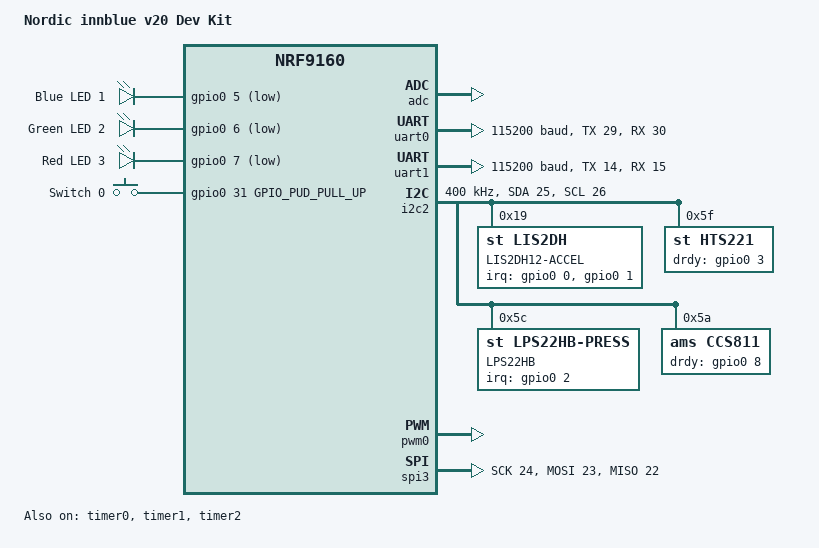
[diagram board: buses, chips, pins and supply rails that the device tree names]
/*
 * Copyright (c) 2018 innblue
 *
 * SPDX-License-Identifier: Apache-2.0
 *
 * i2c: hts221   0x5f int 3
 *      lps22hb  0x5c int 2
 *      ccs811   0x5a int 8
 *      lis2dh   0x19 int 0,1
 *
 */

/ {
	model = "Nordic innblue v20 Dev Kit";
	compatible = "innblue,innblue20-dk", "nordic,nrf9160-sica",
		     "nordic,nrf9160";

	chosen {
		zephyr,console = &uart0;
		zephyr,shell-uart = &uart0;
		zephyr,uart-mcumgr = &uart0;
	};

	
	leds {
		compatible = "gpio-leds";
		led0: led_0 {
			gpios = <&gpio0 5 GPIO_INT_ACTIVE_LOW>;
			label = "Blue LED 1";
		};
		led1: led_1 {
			gpios = <&gpio0 6 GPIO_INT_ACTIVE_LOW>;
			label = "Green LED 2";
		};
		led2: led_2 {
			gpios = <&gpio0 7 GPIO_INT_ACTIVE_LOW>;
			label = "Red LED 3";
		};
		/*
		led0: led_0 {
			gpios = <&gpio0 4 GPIO_INT_ACTIVE_HIGH>;
			label = "Mode Red LED 0";
		};
		led1: led_1 {
			gpios = <&gpio0 5 GPIO_INT_ACTIVE_LOW>;
			label = "Blue LED 1";
		};
		led2: led_2 {
			gpios = <&gpio0 6 GPIO_INT_ACTIVE_LOW>;
			label = "Green LED 2";
		};
		led3: led_3 {
			gpios = <&gpio0 7 GPIO_INT_ACTIVE_LOW>;
			label = "Red LED 3";
		};
		*/
	};

	buttons {
		compatible = "gpio-keys";
		button0: button_0 {
			gpios = <&gpio0 31 GPIO_PUD_PULL_UP>;
			label = "Switch 0";
		};
	};

	/* These aliases are provided for compatibility with samples */
	aliases {
		led0 = &led0;
		led1 = &led1;
		led2 = &led2;
		//led3 = &led3;
		sw0  = &button0;
	};
};

&adc {
	status = "okay";
};

&gpiote {
	status = "okay";
};

&gpio0 {
	status = "okay";
};

&uart0 {
	status = "okay";
	current-speed = <115200>;
	tx-pin = <29>;
	rx-pin = <30>;

};

&uart1 {
	status = "okay";
	current-speed = <115200>;
	tx-pin = <14>;
	rx-pin = <15>;

};

&i2c2 {
	status = "okay";
	sda-pin = <25>;
	scl-pin = <26>;
	
	clock-frequency = <I2C_BITRATE_FAST>;
	
	lis2dh12-accel@19 {
		compatible = "st,lis2dh";
		reg = <0x19>;
		irq-gpios = <&gpio0 0 0>, <&gpio0 1 0>;
		label = "LIS2DH12-ACCEL";
	};	
	
	
	hts221@5f {
		compatible = "st,hts221";
		reg = <0x5f>;
		/* irq-gpios = <&gpio0 3 0>; */
		drdy-gpios = <&gpio0 3 GPIO_INT_ACTIVE_HIGH>;
		label = "HTS221";
	};

	lps22hb-press@5c {
		compatible = "st,lps22hb-press";
		reg = <0x5c>;
		irq-gpios = <&gpio0 2 0>;
		label = "LPS22HB";
	};
	
	ccs811: ccs811@5a {
		compatible = "ams,ccs811";
		reg = <0x5a>;
		drdy-gpios = <&gpio0 8 GPIO_INT_ACTIVE_HIGH>;
		/*irq-gpios = <&gpio0 8 0>;*/
		label = "CCS811";
	};
};

&pwm0 {
	status = "okay";
	ch0-pin = <4>;
	ch0-inverted;
};




&spi3 {
	status = "okay";
	sck-pin = <24>;
	mosi-pin = <23>;
	miso-pin = <22>;
};

&timer0 {
	status = "okay";
};

&timer1 {
	status = "okay";
};

&timer2 {
	status = "okay";
};

&flash0 {
	/*
	 * For more information, see:
	 * http://docs.zephyrproject.org/latest/guides/dts/index.html#flash-partitions
	 */
	partitions {
		compatible = "fixed-partitions";
		#address-cells = <1>;
		#size-cells = <1>;

		boot_partition: partition@0 {
			label = "mcuboot";
			reg = <0x00000000 0x10000>;
		};
		slot0_partition: partition@10000 {
			label = "image-0";
		};
		slot0_ns_partition: partition@40000 {
			label = "image-0-nonsecure";
		};
		slot1_partition: partition@80000 {
			label = "image-1";
		};
		slot1_ns_partition: partition@b0000 {
			label = "image-1-nonsecure";
		};
		scratch_partition: partition@f0000 {
			label = "image-scratch";
			reg = <0x000f0000 0xa000>;
		};
		storage_partition: partition@fa000 {
			label = "storage";
			reg = <0x000fa000 0x00006000>;
		};
	};
};

/ {
	/* SRAM allocated and used by the BSD library */
	sram0_bsd: memory@20010000 {
		device_type = "memory";
		compatible = "mmio-sram";
	};

	/* SRAM allocated to the Non-Secure image */
	sram0_ns: memory@20020000 {
		device_type = "memory";
		compatible = "mmio-sram";
	};
};

/* Include partition configuration file */
#include "nrf9160_innblue20_partition_conf.dts"
